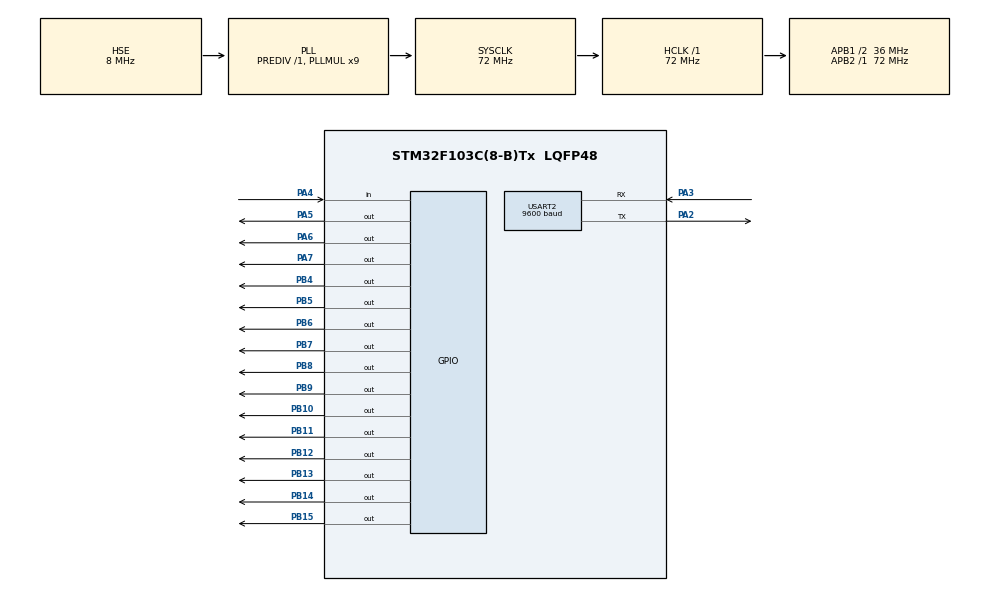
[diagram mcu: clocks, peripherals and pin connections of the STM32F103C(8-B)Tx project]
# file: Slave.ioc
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Mcu.Family=STM32F1
Mcu.Name=STM32F103C(8-B)Tx
Mcu.Package=LQFP48
NVIC.PriorityGroup=NVIC_PRIORITYGROUP_4
NVIC.TIM2_IRQn=true\:0\:0\:false\:false\:true\:true\:true\:true
NVIC.USART2_IRQn=true\:0\:0\:false\:false\:true\:true\:true\:true
PA13.Mode=JTAG_4_pins
PA13.Signal=SYS_JTMS-SWDIO
PA14.Mode=JTAG_4_pins
PA14.Signal=SYS_JTCK-SWCLK
PA15.Mode=JTAG_4_pins
PA15.Signal=SYS_JTDI
PA2.Mode=Asynchronous
PA2.Signal=USART2_TX
PA3.Mode=Asynchronous
PA3.Signal=USART2_RX
PA4.GPIO_PuPd=GPIO_PULLUP
PA4.Signal=GPIO_Input
PA5.GPIO_PuPd=GPIO_PULLUP
PA5.PinState=GPIO_PIN_RESET
PA5.Signal=GPIO_Output
PA6.PinState=GPIO_PIN_SET
PA6.Signal=GPIO_Output
PA7.GPIO_PuPd=GPIO_PULLUP
PA7.PinState=GPIO_PIN_RESET
PA7.Signal=GPIO_Output
PB10.GPIO_PuPd=GPIO_PULLUP
PB10.PinState=GPIO_PIN_RESET
PB10.Signal=GPIO_Output
PB11.GPIO_PuPd=GPIO_PULLUP
PB11.PinState=GPIO_PIN_RESET
PB11.Signal=GPIO_Output
PB12.GPIO_PuPd=GPIO_PULLUP
PB12.PinState=GPIO_PIN_RESET
PB12.Signal=GPIO_Output
PB13.GPIO_PuPd=GPIO_PULLUP
PB13.PinState=GPIO_PIN_SET
PB13.Signal=GPIO_Output
PB14.GPIO_PuPd=GPIO_PULLUP
PB14.PinState=GPIO_PIN_RESET
PB14.Signal=GPIO_Output
PB15.GPIO_PuPd=GPIO_PULLUP
PB15.PinState=GPIO_PIN_SET
PB15.Signal=GPIO_Output
PB3.Mode=JTAG_4_pins
PB3.Signal=SYS_JTDO-TRACESWO
PB4.GPIO_PuPd=GPIO_PULLUP
PB4.Signal=GPIO_Output
PB5.GPIO_PuPd=GPIO_PULLUP
PB5.GPIO_Speed=GPIO_SPEED_FREQ_LOW
PB5.PinState=GPIO_PIN_SET
PB5.Signal=GPIO_Output
PB6.GPIO_ModeDefaultOutputPP=GPIO_MODE_OUTPUT_PP
PB6.PinState=GPIO_PIN_RESET
PB6.Signal=GPIO_Output
PB7.GPIO_PuPd=GPIO_PULLUP
PB7.PinState=GPIO_PIN_RESET
PB7.Signal=GPIO_Output
PB8.GPIO_PuPd=GPIO_PULLUP
PB8.PinState=GPIO_PIN_RESET
PB8.Signal=GPIO_Output
PB9.GPIO_PuPd=GPIO_PULLUP
PB9.PinState=GPIO_PIN_RESET
PB9.Signal=GPIO_Output
PD0-OSC_IN.Mode=HSE-External-Oscillator
PD0-OSC_IN.Signal=RCC_OSC_IN
PD1-OSC_OUT.Mode=HSE-External-Oscillator
PD1-OSC_OUT.Signal=RCC_OSC_OUT
ProjectManager.HeapSize=0x200
ProjectManager.StackSize=0x400
ProjectManager.TargetToolchain=MDK-ARM V5.32
RCC.AHBFreq_Value=72000000
RCC.APB1CLKDivider=RCC_HCLK_DIV2
RCC.APB1Freq_Value=36000000
RCC.APB1TimFreq_Value=72000000
RCC.APB2Freq_Value=72000000
RCC.APB2TimFreq_Value=72000000
RCC.HCLKFreq_Value=72000000
RCC.PLLMUL=RCC_PLL_MUL9
RCC.PLLSourceVirtual=RCC_PLLSOURCE_HSE
RCC.SYSCLKFreq_VALUE=72000000
RCC.SYSCLKSource=RCC_SYSCLKSOURCE_PLLCLK
RCC.USBFreq_Value=72000000
TIM2.Period=4999
TIM2.Prescaler=71
USART2.BaudRate=9600
USART2.VirtualMode=VM_ASYNC
VP_TIM2_VS_ClockSourceINT.Mode=Internal
board=custom

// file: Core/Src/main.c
/* USER CODE BEGIN Header */
/**
  ******************************************************************************
  * @file           : main.c
  * @brief          : Main program body
  ******************************************************************************
  * @attention
  *
  * Copyright (c) 2023 STMicroelectronics.
  * All rights reserved.
  *
  * This software is licensed under terms that can be found in the LICENSE file
  * in the root directory of this software component.
  * If no LICENSE file comes with this software, it is provided AS-IS.
  *
  ******************************************************************************
  */
/* USER CODE END Header */
#include "main.h"
#include "tim.h"
#include "usart.h"
#include "gpio.h"

/* USER CODE BEGIN Includes */
#include "display.h"
#include <string.h>
/* USER CODE END Includes */

/* USER CODE BEGIN PD */

#define DEVICE_ADDRESS  6
#define BUZZER_ON       35
#define BUZZER_OFF      BUZZER_ON+35
#define MOTOR_ON        250
#define MOTOR_OFF       MOTOR_ON+250

/* USER CODE END PD */

/* USER CODE BEGIN PM */

uint8_t rx_data[5];
uint8_t rx_temp[2];

_Bool rx_flag;
_Bool check_flag = 0;

_Bool buzzer_state;
_Bool motor_state;

/* USER CODE END PM */

void SystemClock_Config(void);

int main(void)
{
  /* USER CODE BEGIN 1 */
  uint8_t i=0;
  /* USER CODE END 1 */

  /* MCU Configuration--------------------------------------------------------*/

  /* Reset of all peripherals, Initializes the Flash interface and the Systick. */
  HAL_Init();

  /* Configure the system clock */
  SystemClock_Config();

  /* Initialize all configured peripherals */
  MX_GPIO_Init();
  MX_TIM2_Init();
  MX_USART2_UART_Init();
  /* USER CODE BEGIN 2 */

  HAL_UART_Receive_IT(&huart2,rx_temp,1);
  HAL_GPIO_WritePin(GPIOA, GPIO_PIN_5|GPIO_PIN_6, GPIO_PIN_RESET);

  HAL_TIM_Base_Start_IT(&htim2);

  /* USER CODE END 2 */

  /* Infinite loop */
  while (1)
  {

    /* USER CODE BEGIN 3 */
    if(rx_flag)
    {
      rx_flag = 0;
      if((rx_data[0] == 'a') && (rx_data[4] == 'b'))
      {
        if((rx_data[1] == ' '))
        {
          if((rx_data[2] == ' '))
          {
            if((rx_data[3] - '0') == DEVICE_ADDRESS)
            {
              check_flag = 1;
            }
          }
          else
          {
            if(((rx_data[2] - '0') * 10) + (rx_data[3] - '0') == DEVICE_ADDRESS)
            {
              check_flag = 1;
            }
          }
        }
        else
        {
          if(((rx_data[1] - '0') * 100) + ((rx_data[2] - '0') * 10) + ((rx_data[3] - '0')) == DEVICE_ADDRESS)
          {
            check_flag = 1;
          }
        }
      }
    }
    display(0,8);
    display(1,8);

  }
  /* USER CODE END 3 */
}

void SystemClock_Config(void)
{
  RCC_OscInitTypeDef RCC_OscInitStruct = {0};
  RCC_ClkInitTypeDef RCC_ClkInitStruct = {0};

  /** Initializes the RCC Oscillators according to the specified parameters
  * in the RCC_OscInitTypeDef structure.
  */
  RCC_OscInitStruct.OscillatorType = RCC_OSCILLATORTYPE_HSE;
  RCC_OscInitStruct.HSEState = RCC_HSE_ON;
  RCC_OscInitStruct.HSEPredivValue = RCC_HSE_PREDIV_DIV1;
  RCC_OscInitStruct.HSIState = RCC_HSI_ON;
  RCC_OscInitStruct.PLL.PLLState = RCC_PLL_ON;
  RCC_OscInitStruct.PLL.PLLSource = RCC_PLLSOURCE_HSE;
  RCC_OscInitStruct.PLL.PLLMUL = RCC_PLL_MUL9;
  if (HAL_RCC_OscConfig(&RCC_OscInitStruct) != HAL_OK)
  {
    Error_Handler();
  }

  /** Initializes the CPU, AHB and APB buses clocks
  */
  RCC_ClkInitStruct.ClockType = RCC_CLOCKTYPE_HCLK|RCC_CLOCKTYPE_SYSCLK
                              |RCC_CLOCKTYPE_PCLK1|RCC_CLOCKTYPE_PCLK2;
  RCC_ClkInitStruct.SYSCLKSource = RCC_SYSCLKSOURCE_PLLCLK;
  RCC_ClkInitStruct.AHBCLKDivider = RCC_SYSCLK_DIV1;
  RCC_ClkInitStruct.APB1CLKDivider = RCC_HCLK_DIV2;
  RCC_ClkInitStruct.APB2CLKDivider = RCC_HCLK_DIV1;

  if (HAL_RCC_ClockConfig(&RCC_ClkInitStruct, FLASH_LATENCY_2) != HAL_OK)
  {
    Error_Handler();
  }
}

/* USER CODE BEGIN 4 */

uint8_t count_50ms;
uint8_t count_10s;

uint16_t count_buzzer;
uint16_t count_motor;

void HAL_TIM_PeriodElapsedCallback(TIM_HandleTypeDef *htim)
{
  if(htim -> Instance == TIM2)
  {
    count_50ms++;
    if(check_flag)
    {
      count_buzzer++;count_motor++;
      if(count_buzzer < BUZZER_ON)
      {
        HAL_GPIO_WritePin(GPIOA, GPIO_PIN_7, GPIO_PIN_SET);
        HAL_GPIO_WritePin(GPIOB, GPIO_PIN_5, GPIO_PIN_RESET);
      }
      else if(count_buzzer < BUZZER_OFF)
      {
        HAL_GPIO_WritePin(GPIOA, GPIO_PIN_7, GPIO_PIN_RESET);
        HAL_GPIO_WritePin(GPIOB, GPIO_PIN_5, GPIO_PIN_SET);
      }

      if(count_motor < MOTOR_ON)
      {
        HAL_GPIO_WritePin(GPIOB, GPIO_PIN_4, GPIO_PIN_SET);
      }
      else if(count_motor < MOTOR_OFF)
      {
        HAL_GPIO_WritePin(GPIOB, GPIO_PIN_4, GPIO_PIN_RESET);
      }

      if(count_buzzer == BUZZER_OFF)  count_buzzer = 0;
      if(count_motor == MOTOR_OFF)  count_motor = 0;
    }
    else
    {
      HAL_GPIO_WritePin(GPIOB, GPIO_PIN_5, GPIO_PIN_SET);
      HAL_GPIO_WritePin(GPIOB, GPIO_PIN_4, GPIO_PIN_RESET);
      HAL_GPIO_WritePin(GPIOA, GPIO_PIN_7, GPIO_PIN_RESET);
      count_buzzer = 0;
      count_motor = 0;
    }

    if(count_50ms == 10)
    {
      count_50ms = 0;

      if(check_flag)
      {
        count_10s++;
      }
      else
      {
        count_10s = 0;
      }
      if(count_10s == 200)
      {
        count_10s = 0;
        if(check_flag)
        {
          check_flag = !check_flag;
        }
      }
    }
  }
}

/* USER CODE END 4 */

void Error_Handler(void)
{
  __disable_irq();
  while (1)
  {
  }
}
